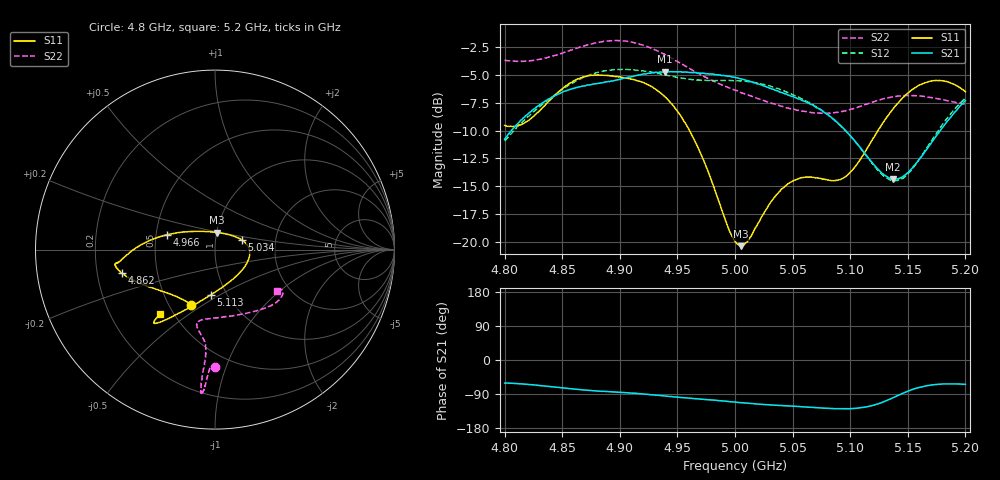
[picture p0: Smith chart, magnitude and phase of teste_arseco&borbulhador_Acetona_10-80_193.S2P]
! Network Analyzer HP8722D
! Hewlett-Packard
! Data name: Linha & Wilkinson
! Saver's name: Rodrigo Anjos
! Comments: Teste da utilização de aquisição
! continua pelo VNA HP8722D
! Time and date: 17/4/2025 15:58
!  Frequency  S11  S21  S12  S22
# HZ  S  MA R 50
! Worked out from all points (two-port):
!   401 points, 4.8 GHz to 5.2 GHz, reference 50 ohm
!   highest |S21| = -4.69 dB at 4.939 GHz (marker M1); lowest = -14.4 dB at 5.137 GHz (marker M2)
!   |S21| within 3 dB of the highest: 4.83 GHz to 5.067 GHz (237 MHz wide, 4.79 % of centre); 5.196336 GHz to end of sweep
!   lowest |S11| = -20.4 dB at 5.005 GHz (marker M3), VSWR 1.21, Z = 50.2 + j9.61 ohm
!   |S11| at or under -10 dB: 4.961 GHz to 5.124 GHz (163.5 MHz wide, 3.24 % of centre)
!   |S22| runs from -8.5 to -1.9 dB; largest |S21 - S12| = 0.87
!   S11 on the Smith chart (normalised r, x): 4.8 GHz: 0.65, -0.45; 4.862 GHz: 0.31, -0.11; 4.966 GHz: 0.57, +0.10; 5.034 GHz: 1.34, +0.15; 5.113 GHz: 0.84, -0.45; 5.2 GHz: 0.42, -0.39
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4.8e9  0.334 -113.4  0.2896 -60.9  0.2842 -175.1  0.6556 -90.1
4.819e9  0.3472 -133.4  0.371 -64.1  0.3593 -173.7  0.651 -91.6
4.862e9  0.5362 -165.9  0.4945 -77.2  0.5287 -176.7  0.7416 -93.9
4.867e9  0.548 -167.8  0.5011 -78.6  0.5437 -177.9  0.7556 -94.1
4.901e9  0.5506 -172.3  0.5399 -85.4  0.596 175.3  0.8038 -95.5
4.934e9  0.4733 -178.2  0.5784 -93.6  0.5712 171.8  0.7167 -95.8
4.939e9  0.4499 179.6  0.5829 -94.8  0.5648 171.7  0.6966 -95.5
4.953e9  0.3679 172.1  0.5826 -98.8  0.5459 172.5  0.634 -95.2
4.966e9  0.2783 162.8  0.5763 -102.0  0.5359 173.8  0.5811 -95.0
5e9  0.1007 101.1  0.549 -111.2  0.5302 176.1  0.481 -99.3
5.005e9  0.09551 83.4  0.5405 -112.5  0.5288 176.1  0.4689 -100.3
5.012e9  0.1026 60.4  0.5291 -114.2  0.5246 175.7  0.4562 -101.8
5.034e9  0.158 20.3  0.4829 -119.2  0.495 174.8  0.4176 -103.5
5.049e9  0.1861 5.0  0.4512 -121.6  0.4628 174.2  0.3971 -99.9
5.067e9  0.195 -14.2  0.4141 -124.9  0.4156 173.6  0.3809 -90.5
5.093e9  0.1927 -58.5  0.3287 -128.8  0.327 174.1  0.3854 -70.5
5.113e9  0.2545 -95.6  0.2485 -124.3  0.2479 -179.8  0.4146 -54.9
5.134e9  0.3768 -116.6  0.1933 -103.9  0.1903 -157.0  0.4459 -43.0
5.137e9  0.3944 -118.4  0.1911 -100.0  0.1884 -152.1  0.4488 -41.7
5.151e9  0.4709 -124.6  0.2068 -81.1  0.2048 -130.6  0.4549 -36.3
5.17e9  0.5282 -129.0  0.2761 -66.2  0.2816 -112.3  0.446 -32.0
5.2e9  0.4733 -130.6  0.4312 -64.3  0.4437 -106.5  0.4151 -33.4
